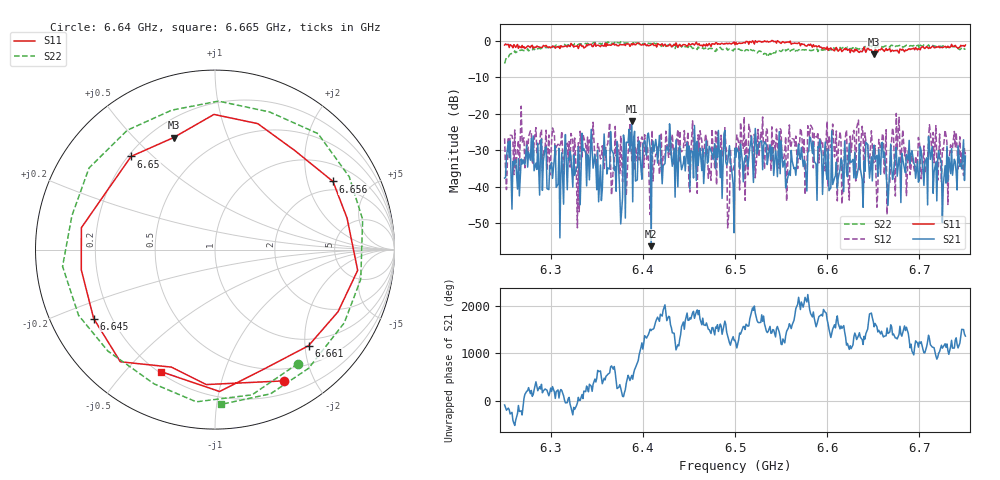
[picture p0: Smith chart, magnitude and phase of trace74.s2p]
# Hz S RI R 50
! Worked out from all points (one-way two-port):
!   401 points, 6.25 GHz to 6.75 GHz, reference 50 ohm
!   highest |S21| = -22.06 dB at 6.388 GHz (marker M1); lowest = -56.4 dB at 6.409 GHz (marker M2)
!   lowest |S11| = -3.5 dB at 6.651 GHz (marker M3), VSWR 4.98, Z = 14.6 + j32.8 ohm
!   |S11| at or under -10 dB: nowhere
!   |S22| runs from -6.2 to -0.1 dB; largest |S21 - S12| = 0.14
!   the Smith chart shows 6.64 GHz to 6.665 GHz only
!   S11 on the Smith chart (normalised r, x): 6.64 GHz: 0.35, -1.60; 6.645 GHz: 0.13, -0.26; 6.65 GHz: 0.21, +0.43; 6.656 GHz: 1.62, +2.90; 6.661 GHz: 0.86, -2.07; 6.665 GHz: 0.21, -0.63
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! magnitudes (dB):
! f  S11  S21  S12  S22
! 6.25 GHz  -1.1  -37.7  -26.7  -6.2
! 6.334 GHz  -1.5  -25.3  -32.2  -0.9
! 6.368 GHz  -0.7  -30.9  -34.8  -0.7
! 6.375 GHz  -1.0  -41.9  -36.5  -0.6
! 6.388 GHz  -0.8  -22.1  -32.9  -1.0
! 6.409 GHz  -1.0  -56.4  -37.8  -0.7
! 6.418 GHz  -1.0  -26.0  -36.7  -0.9
! 6.488 GHz  -0.9  -25.6  -30.1  -2.3
! 6.495 GHz  -0.8  -33.3  -29.6  -2.3
! 6.5 GHz  -1.0  -29.5  -29.6  -2.2
! 6.584 GHz  -1.7  -30.9  -24.0  -2.6
! 6.64 GHz  -1.7  -32.9  -38.9  -2.1
! 6.645 GHz  -2.2  -32.8  -33.1  -1.7
! 6.65 GHz  -3.1  -30.4  -33.6  -1.6
! 6.651 GHz  -3.5  -28.6  -33.3  -1.7
! 6.656 GHz  -2.4  -29.8  -27.1  -1.3
! 6.661 GHz  -2.5  -32.1  -26.5  -1.6
! 6.665 GHz  -2.6  -40.6  -47.7  -1.3
! 6.668 GHz  -2.1  -33.8  -39.2  -1.7
! 6.678 GHz  -3.3  -31.9  -21.0  -1.3
! 6.689 GHz  -2.1  -27.3  -30.9  -1.4
! 6.75 GHz  -1.1  -31.6  -31.2  -2.1
